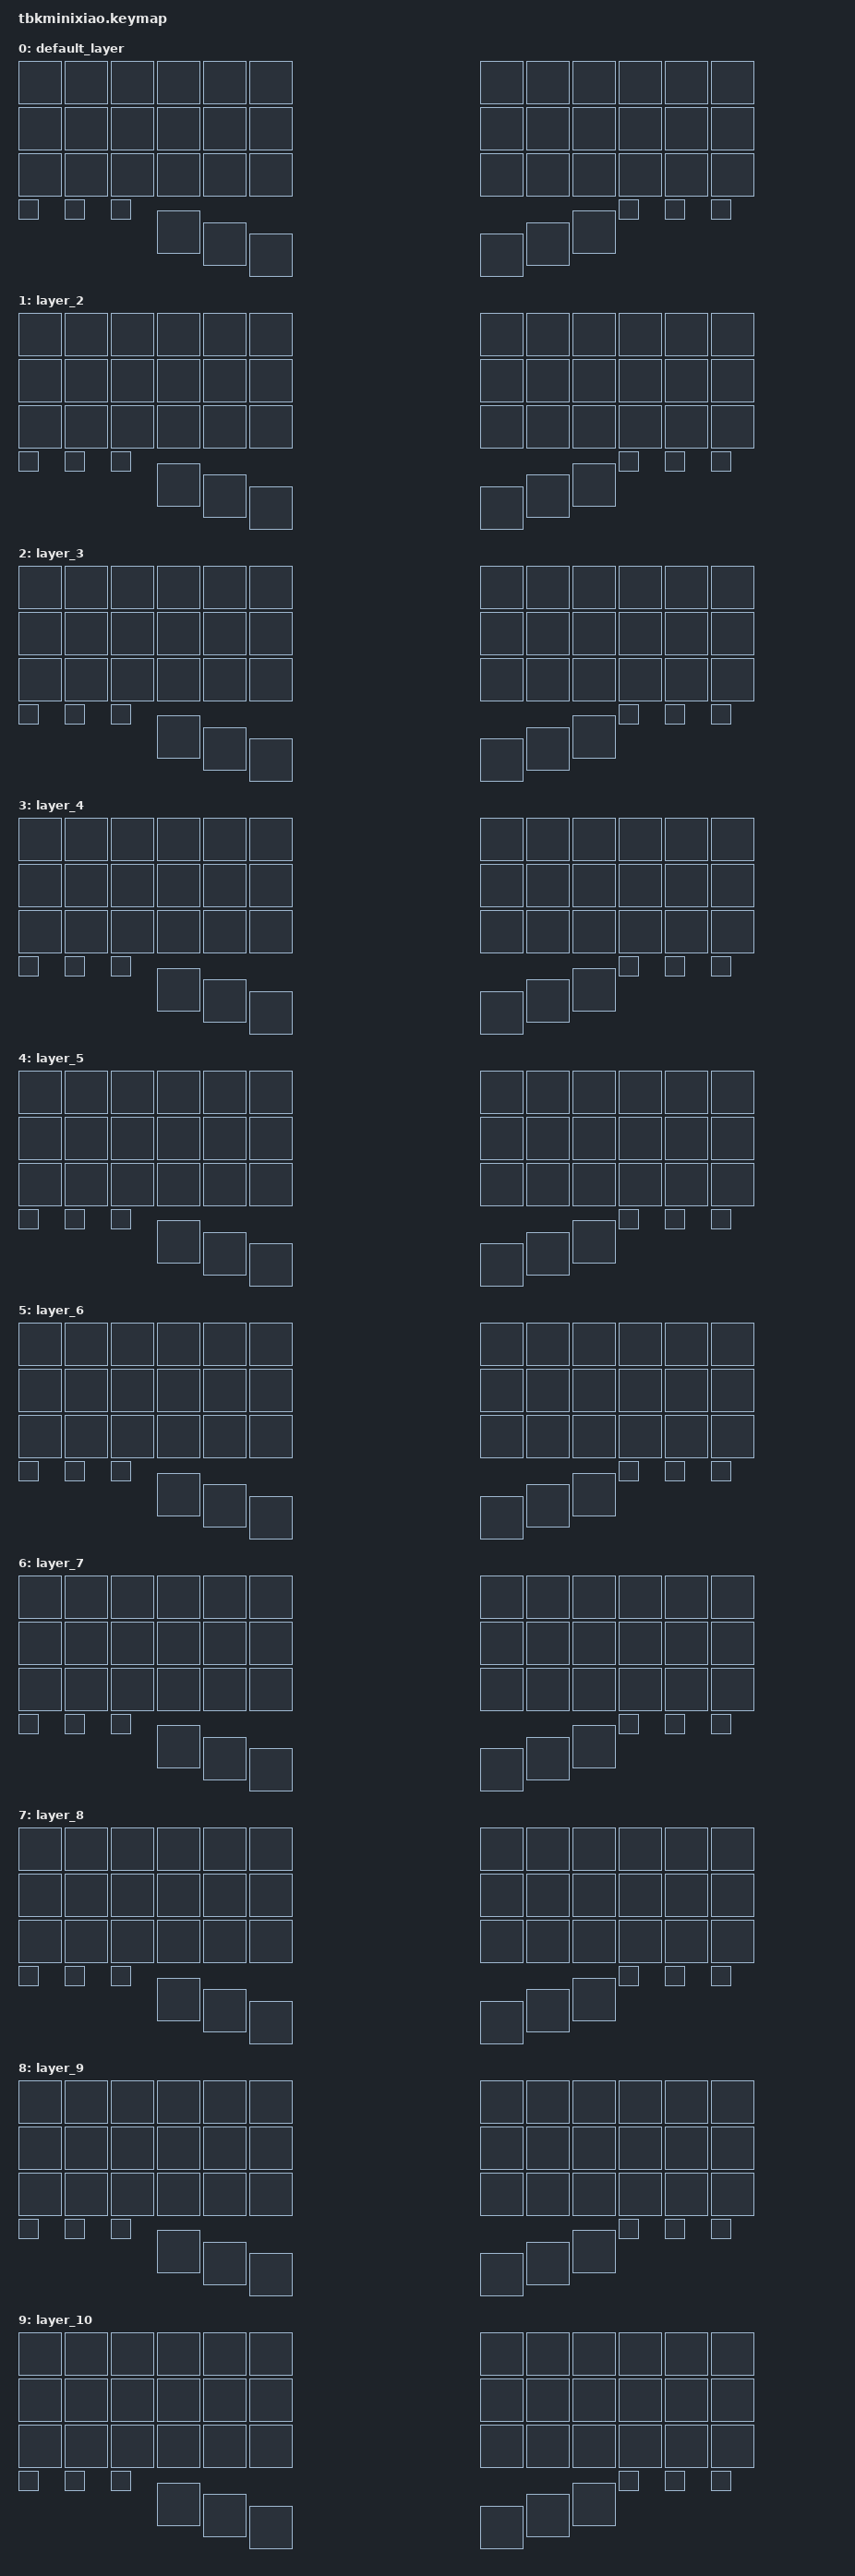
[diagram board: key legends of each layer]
/*
 * Copyright (c) 2020 The ZMK Contributors
 *
 * SPDX-License-Identifier: MIT
 */

#include <behaviors.dtsi>
#include <dt-bindings/zmk/keys.h>
#include <dt-bindings/zmk/bt.h>

/ {
        keymap {
                compatible = "zmk,keymap";

                default_layer {
                        bindings = <
				 &none     &none      &none     &none      &none     &none      &none      &none      &none     &none        &none     &none   
			     &none     &none      &none     &none      &none     &none      &none      &none      &none     &none        &none     &none   
			     &none     &none      &none     &none      &none     &none      &none      &none      &none     &none        &none     &none   
			     &none     &none      &none     &none      &none     &none      &none      &none      &none     &none        &none     &none   
                        >;
                };

	layer_2 {
                        bindings = <
			     &none     &none      &none     &none      &none     &none      &none      &none      &none     &none        &none     &none   
			     &none     &none      &none     &none      &none     &none      &none      &none      &none     &none        &none     &none   
			     &none     &none      &none     &none      &none     &none      &none      &none      &none     &none        &none     &none   
			     &none     &none      &none     &none      &none     &none      &none      &none      &none     &none        &none     &none   
                        >;
        };

	layer_3 {
                        bindings = <
			     &none     &none      &none     &none      &none     &none      &none      &none      &none     &none        &none     &none   
			     &none     &none      &none     &none      &none     &none      &none      &none      &none     &none        &none     &none   
			     &none     &none      &none     &none      &none     &none      &none      &none      &none     &none        &none     &none   
			     &none     &none      &none     &none      &none     &none      &none      &none      &none     &none        &none     &none   
                        >;
        };

	layer_4 {
                        bindings = <
			     &none     &none      &none     &none      &none     &none      &none      &none      &none     &none        &none     &none   
			     &none     &none      &none     &none      &none     &none      &none      &none      &none     &none        &none     &none   
			     &none     &none      &none     &none      &none     &none      &none      &none      &none     &none        &none     &none   
			     &none     &none      &none     &none      &none     &none      &none      &none      &none     &none        &none     &none   
                        >;
        };


	layer_5 {
                        bindings = <
			     &none     &none      &none     &none      &none     &none      &none      &none      &none     &none        &none     &none   
			     &none     &none      &none     &none      &none     &none      &none      &none      &none     &none        &none     &none   
			     &none     &none      &none     &none      &none     &none      &none      &none      &none     &none        &none     &none   
			     &none     &none      &none     &none      &none     &none      &none      &none      &none     &none        &none     &none   
                        >;
        };


	layer_6 {
                        bindings = <
			     &none     &none      &none     &none      &none     &none      &none      &none      &none     &none        &none     &none   
			     &none     &none      &none     &none      &none     &none      &none      &none      &none     &none        &none     &none   
			     &none     &none      &none     &none      &none     &none      &none      &none      &none     &none        &none     &none   
			     &none     &none      &none     &none      &none     &none      &none      &none      &none     &none        &none     &none   
                        >;
        };



	layer_7 {
                        bindings = <
			     &none     &none      &none     &none      &none     &none      &none      &none      &none     &none        &none     &none   
			     &none     &none      &none     &none      &none     &none      &none      &none      &none     &none        &none     &none   
			     &none     &none      &none     &none      &none     &none      &none      &none      &none     &none        &none     &none   
			     &none     &none      &none     &none      &none     &none      &none      &none      &none     &none        &none     &none   
                        >;
        };

	layer_8 {
                        bindings = <
			     &none     &none      &none     &none      &none     &none      &none      &none      &none     &none        &none     &none   
			     &none     &none      &none     &none      &none     &none      &none      &none      &none     &none        &none     &none   
			     &none     &none      &none     &none      &none     &none      &none      &none      &none     &none        &none     &none   
			     &none     &none      &none     &none      &none     &none      &none      &none      &none     &none        &none     &none   
                        >;
        };

	layer_9 {
                        bindings = <
			     &none     &none      &none     &none      &none     &none      &none      &none      &none     &none        &none     &none   
			     &none     &none      &none     &none      &none     &none      &none      &none      &none     &none        &none     &none   
			     &none     &none      &none     &none      &none     &none      &none      &none      &none     &none        &none     &none   
			     &none     &none      &none     &none      &none     &none      &none      &none      &none     &none        &none     &none   
                        >;
        };


	layer_10 {
                        bindings = <
			     &none     &none      &none     &none      &none     &none      &none      &none      &none     &none        &none     &none   
			     &none     &none      &none     &none      &none     &none      &none      &none      &none     &none        &none     &none   
			     &none     &none      &none     &none      &none     &none      &none      &none      &none     &none        &none     &none   
			     &none     &none      &none     &none      &none     &none      &none      &none      &none     &none        &none     &none   
                        >;
        };


};


};
